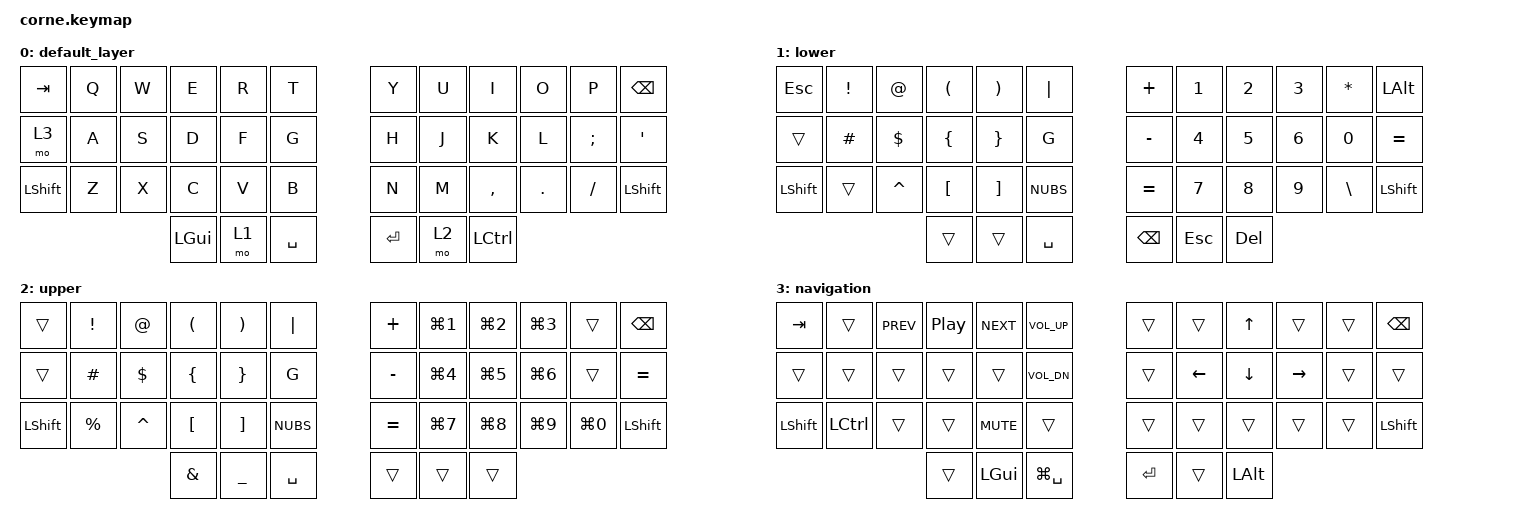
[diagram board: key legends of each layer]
/*
* Copyright (c) 2020 The ZMK Contributors
*
* SPDX-License-Identifier: MIT
*/
#include <behaviors.dtsi>
#include <dt-bindings/zmk/keys.h>
#include <dt-bindings/zmk/bt.h>

/ {
    {
        wired_split {
            compatible = "zmk,wired-split";
            device = <&uart0>;
        };
    };

    keymap {
        compatible = "zmk,keymap";
        default_layer {
// -----------------------------------------------------------------------------------------
// |  TAB |  Q  |  W  |  E  |  R  |  T  |   |  Y  |  U   |  I  |  O  |  P  | BSPC |
// | NAV  |  A  |  S  |  D  |  F  |  G  |   |  H  |  J   |  K  |  L  |  ;  |  '   |
// | SHFT |  Z  |  X  |  C  |  V  |  B  |   |  N  |  M   |  ,  |  .  |  /  | SHFT |
//                    | GUI | LWR | SPC |   | ENT | UPPER| CTRL|
            bindings = <
                &kp TAB    &kp Q  &kp W  &kp E  &kp R  &kp T      &kp Y    &kp U  &kp I      &kp O    &kp P     &kp BSPC
                &mo 3      &kp A  &kp S  &kp D  &kp F  &kp G      &kp H    &kp J  &kp K      &kp L    &kp SEMI  &kp SQT
                &kp LSHFT  &kp Z  &kp X  &kp C  &kp V  &kp B      &kp N    &kp M  &kp COMMA  &kp DOT  &kp FSLH  &kp LSHFT
                                  &kp LGUI  &mo 1  &kp SPACE      &kp RET  &mo 2  &kp LCTRL
            >;
        };
        lower {
// -----------------------------------------------------------------------------------------
// | ESC  |  !  |  @  |  (  |  )  |  |  |   |  +  |  1  |  2  |  3  |  *  | LALT |
// |      |  #  |  $  |  {  |  }  |  G  |   |  -  |  4  |  5  |  6  |  0  |  =   |
// | SHFT |  %  |  ^  |  [  |  ]  |  `  |   |  =  |  7  |  8  |  9  |  \  | SHFT |
//                    |     |     | SPC |   | BSPC| ESC | DEL |
            bindings = <
                &kp ESC    &kp EXCL   &kp AT     &kp LPAR  &kp RPAR  &kp PIPE      &kp PLUS   &kp N1  &kp N2  &kp N3  &kp ASTRK  &kp LALT
                &trans     &kp HASH   &kp DLLR   &kp LBRC  &kp RBRC  &kp G         &kp MINUS  &kp N4  &kp N5  &kp N6  &kp N0     &kp EQUAL
                &kp LSHFT  &trans     &kp CARET  &kp LBKT  &kp RBKT  &kp NUBS      &kp EQUAL  &kp N7  &kp N8  &kp N9  &kp BSLH   &kp LSHFT
                                      &trans  &trans  &kp SPACE      &kp BSPC  &kp ESC  &kp DEL
            >;
        };
        upper {
// -----------------------------------------------------------------------------------------
// |      |  !  |  @  |  (  |  )  |  |  |   |  +  | CMD+1| CMD+2| CMD+3|     | BSPC |
// |      |  #  |  $  |  {  |  }  |  G  |   |  -  | CMD+4| CMD+5| CMD+6|     |  =   |
// | SHFT |  %  |  ^  |  [  |  ]  |  `  |   |  =  | CMD+7| CMD+8| CMD+9|CMD+0| SHFT |
//                    |  &  |  _  | SPC |   |     |      |      |
            bindings = <
                &trans     &kp EXCL   &kp AT     &kp LPAR  &kp RPAR   &kp PIPE      &kp PLUS   &kp LG(N1)  &kp LG(N2)  &kp LG(N3)  &trans      &kp BSPC
                &trans     &kp HASH   &kp DLLR   &kp LBRC  &kp RBRC   &kp G         &kp MINUS  &kp LG(N4)  &kp LG(N5)  &kp LG(N6)  &trans      &kp EQUAL
                &kp LSHFT  &kp PRCNT  &kp CARET  &kp LBKT  &kp RBKT   &kp NUBS      &kp EQUAL  &kp LG(N7)  &kp LG(N8)  &kp LG(N9)  &kp LG(N0)  &kp LSHFT
                                      &kp AMPS  &kp UNDER  &kp SPACE      &trans  &trans  &trans
            >;
        };
        navigation {
// -----------------------------------------------------------------------------------------
// |  TAB |     | PREV| PLAY| NEXT| VOL+ |   |     |     |  UP |     |     | BSPC |
// |      |     |     |     |     | VOL- |   |     | LEFT| DOWN|RIGHT|     |      |
// | SHFT |LCTRL|     |     | MUTE|      |   |     |     |     |     |     | SHFT |
//                    |     | GUI |CMD+SP|   | ENT |     | ALT |
            bindings = <
                &kp TAB    &trans     &kp C_PREV  &kp C_PLAY_PAUSE  &kp C_NEXT  &kp C_VOL_UP      &trans   &trans    &kp UP    &trans     &trans  &kp BSPC
                &trans     &trans     &trans      &trans            &trans      &kp C_VOL_DN      &trans   &kp LEFT  &kp DOWN  &kp RIGHT  &trans  &trans
                &kp LSHFT  &kp LCTRL  &trans      &trans            &kp C_MUTE  &trans            &trans   &trans    &trans    &trans     &trans  &kp LSHFT
                                      &trans  &kp LGUI  &kp LG(SPACE)      &kp RET  &trans  &kp LALT
            >;
        };
    };
};
